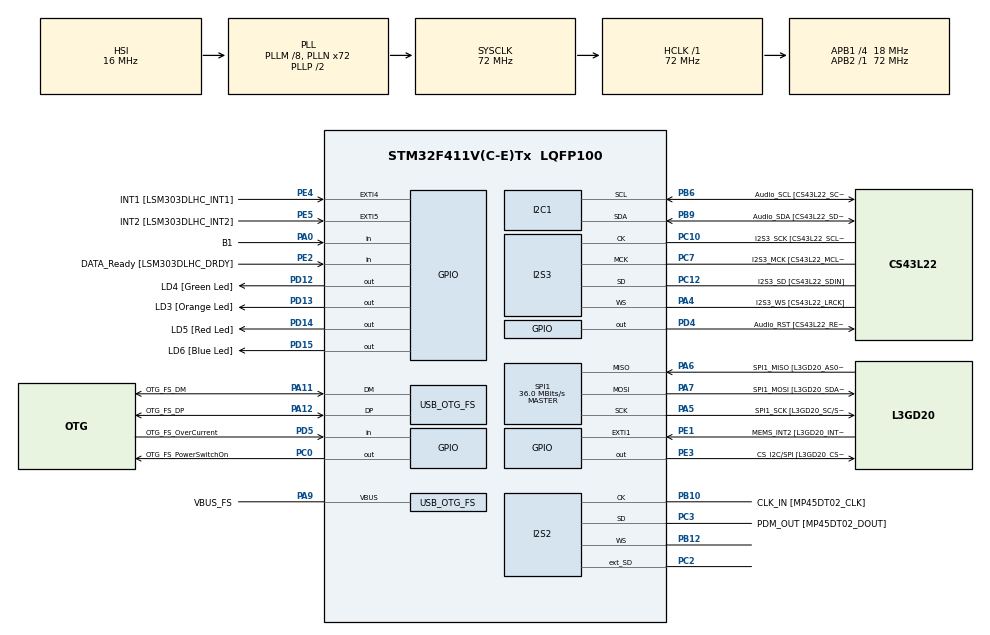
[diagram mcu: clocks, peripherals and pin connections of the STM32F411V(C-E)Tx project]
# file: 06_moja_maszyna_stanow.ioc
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I2S2.AudioFreq=I2S_AUDIOFREQ_96K
I2S2.ErrorAudioFreq=0.15 %
I2S2.FullDuplexMode=I2S_FULLDUPLEXMODE_ENABLE
I2S2.Instance=SPI$Index
I2S2.RealAudioFreq=96.153 KHz
I2S2.VirtualMode=I2S_MODE_MASTER
I2S3.AudioFreq=I2S_AUDIOFREQ_96K
I2S3.ErrorAudioFreq=-6.99 %
I2S3.FullDuplexMode=I2S_FULLDUPLEXMODE_DISABLE
I2S3.Instance=SPI$Index
I2S3.RealAudioFreq=89.285 KHz
I2S3.VirtualMode=I2S_MODE_MASTER
Mcu.Family=STM32F4
Mcu.Name=STM32F411V(C-E)Tx
Mcu.Package=LQFP100
NVIC.OTG_FS_IRQn=true\:0\:0\:false\:false\:true\:true\:true
NVIC.PriorityGroup=NVIC_PRIORITYGROUP_0
PA0-WKUP.GPIO_Label=B1
PA0-WKUP.Signal=GPIO_Input
PA10.GPIO_Label=OTG_FS_ID
PA10.Signal=USB_OTG_FS_ID
PA11.GPIO_Label=OTG_FS_DM
PA11.Mode=Host_Only
PA11.Signal=USB_OTG_FS_DM
PA12.GPIO_Label=OTG_FS_DP
PA12.Mode=Host_Only
PA12.Signal=USB_OTG_FS_DP
PA13.GPIO_Label=SWDIO
PA13.Mode=Serial_Wire
PA13.Signal=SYS_JTMS-SWDIO
PA14.GPIO_Label=SWCLK
PA14.Mode=Serial_Wire
PA14.Signal=SYS_JTCK-SWCLK
PA4.GPIO_Label=I2S3_WS [CS43L22_LRCK]
PA4.GPIO_Mode=GPIO_MODE_AF_PP
PA4.GPIO_PuPd=GPIO_NOPULL
PA4.GPIO_Speed=GPIO_SPEED_FREQ_LOW
PA4.Mode=Half_Duplex_Master
PA4.Signal=I2S3_WS
PA5.GPIO_Label=SPI1_SCK [L3GD20_SC/SPC]
PA5.Mode=Full_Duplex_Master
PA5.Signal=SPI1_SCK
PA6.GPIO_Label=SPI1_MISO [L3GD20_AS0/SDO]
PA6.Mode=Full_Duplex_Master
PA6.Signal=SPI1_MISO
PA7.GPIO_Label=SPI1_MOSI [L3GD20_SDA/SDI/SDO]
PA7.Mode=Full_Duplex_Master
PA7.Signal=SPI1_MOSI
PA9.GPIO_Label=VBUS_FS
PA9.Mode=Activate_VBUS
PA9.Signal=USB_OTG_FS_VBUS
PB10.GPIO_Label=CLK_IN [MP45DT02_CLK]
PB10.Mode=Full_Duplex_Master
PB10.Signal=I2S2_CK
PB12.Mode=Full_Duplex_Master
PB12.Signal=I2S2_WS
PB3.GPIO_Label=SWO
PB3.Signal=SYS_JTDO-SWO
PB6.GPIO_Label=Audio_SCL [CS43L22_SCL]
PB6.GPIO_Mode=GPIO_MODE_AF_OD
PB6.GPIO_PuPd=GPIO_NOPULL
PB6.GPIO_Speed=GPIO_SPEED_FREQ_LOW
PB6.Mode=I2C
PB6.Signal=I2C1_SCL
PB9.GPIO_Label=Audio_SDA [CS43L22_SDA]
PB9.GPIO_Mode=GPIO_MODE_AF_OD
PB9.GPIO_PuPd=GPIO_NOPULL
PB9.GPIO_Speed=GPIO_SPEED_FREQ_LOW
PB9.Mode=I2C
PB9.Signal=I2C1_SDA
PC0.GPIO_Label=OTG_FS_PowerSwitchOn
PC0.PinState=GPIO_PIN_SET
PC0.Signal=GPIO_Output
PC10.GPIO_Label=I2S3_SCK [CS43L22_SCLK]
PC10.GPIO_Mode=GPIO_MODE_AF_PP
PC10.GPIO_PuPd=GPIO_NOPULL
PC10.GPIO_Speed=GPIO_SPEED_FREQ_LOW
PC10.Mode=Half_Duplex_Master
PC10.Signal=I2S3_CK
PC12.GPIO_Label=I2S3_SD [CS43L22_SDIN]
PC12.GPIO_Mode=GPIO_MODE_AF_PP
PC12.GPIO_PuPd=GPIO_NOPULL
PC12.GPIO_Speed=GPIO_SPEED_FREQ_LOW
PC12.Mode=Half_Duplex_Master
PC12.Signal=I2S3_SD
PC14-OSC32_IN.GPIO_Label=PC14-OSC32_IN
PC14-OSC32_IN.Mode=LSE-External-Oscillator
PC14-OSC32_IN.Signal=RCC_OSC32_IN
PC15-OSC32_OUT.GPIO_Label=PC15-OSC32_OUT
PC15-OSC32_OUT.Mode=LSE-External-Oscillator
PC15-OSC32_OUT.Signal=RCC_OSC32_OUT
PC2.Mode=Full_Duplex_Master
PC2.Signal=I2S2_ext_SD
PC3.GPIO_Label=PDM_OUT [MP45DT02_DOUT]
PC3.Mode=Full_Duplex_Master
PC3.Signal=I2S2_SD
PC7.GPIO_Label=I2S3_MCK [CS43L22_MCLK]
PC7.GPIO_Mode=GPIO_MODE_AF_PP
PC7.GPIO_PuPd=GPIO_NOPULL
PC7.GPIO_Speed=GPIO_SPEED_FREQ_LOW
PC7.Mode=Master_Clock_Activated
PC7.Signal=I2S3_MCK
PD12.GPIO_Label=LD4 [Green Led]
PD12.GPIO_PuPd=GPIO_NOPULL
PD12.GPIO_Speed=GPIO_SPEED_FREQ_LOW
PD12.Signal=GPIO_Output
PD13.GPIO_Label=LD3 [Orange Led]
PD13.GPIO_PuPd=GPIO_NOPULL
PD13.GPIO_Speed=GPIO_SPEED_FREQ_LOW
PD13.Signal=GPIO_Output
PD14.GPIO_Label=LD5 [Red Led]
PD14.GPIO_PuPd=GPIO_NOPULL
PD14.GPIO_Speed=GPIO_SPEED_FREQ_LOW
PD14.Signal=GPIO_Output
PD15.GPIO_Label=LD6 [Blue Led]
PD15.GPIO_PuPd=GPIO_NOPULL
PD15.GPIO_Speed=GPIO_SPEED_FREQ_LOW
PD15.Signal=GPIO_Output
PD4.GPIO_Label=Audio_RST [CS43L22_RESET]
PD4.Signal=GPIO_Output
PD5.GPIO_Label=OTG_FS_OverCurrent
PD5.Signal=GPIO_Input
PE1.GPIO_Label=MEMS_INT2 [L3GD20_INT2]
PE1.GPIO_ModeDefaultEXTI=GPIO_MODE_EVT_RISING
PE1.Signal=GPXTI1
PE2.GPIO_Label=DATA_Ready [LSM303DLHC_DRDY]
PE2.Signal=GPIO_Input
PE3.GPIO_Label=CS_I2C/SPI [L3GD20_CS_I2C/SPI]
PE3.Signal=GPIO_Output
PE4.GPIO_Label=INT1 [LSM303DLHC_INT1]
PE4.GPIO_ModeDefaultEXTI=GPIO_MODE_EVT_RISING
PE4.Signal=GPXTI4
PE5.GPIO_Label=INT2 [LSM303DLHC_INT2]
PE5.GPIO_ModeDefaultEXTI=GPIO_MODE_EVT_RISING
PE5.Signal=GPXTI5
PH0\ -\ OSC_IN.GPIO_Label=PH0-OSC_IN
PH0\ -\ OSC_IN.Mode=HSE-External-Clock-Source
PH0\ -\ OSC_IN.Signal=RCC_OSC_IN
PH1\ -\ OSC_OUT.GPIO_Label=PH1-OSC_OUT
PH1\ -\ OSC_OUT.Mode=HSE-External-Clock-Source
PH1\ -\ OSC_OUT.Signal=RCC_OSC_OUT
ProjectManager.HeapSize=0x200
ProjectManager.StackSize=0x400
ProjectManager.TargetToolchain=STM32CubeIDE
RCC.48MHZClocksFreq_Value=48000000
RCC.AHBFreq_Value=72000000
RCC.APB1CLKDivider=RCC_HCLK_DIV4
RCC.APB1Freq_Value=18000000
RCC.APB1TimFreq_Value=36000000
RCC.APB2Freq_Value=72000000
RCC.APB2TimFreq_Value=72000000
RCC.CortexFreq_Value=72000000
RCC.HCLKFreq_Value=72000000
RCC.HSE_VALUE=8000000
RCC.HSI_VALUE=16000000
RCC.PLLI2SM=8
RCC.PLLI2SN=160
RCC.PLLM=8
RCC.PLLN=72
RCC.PLLQ=3
RCC.PLLSource=RCC_PLLSOURCE_HSI
RCC.SYSCLKFreq_VALUE=72000000
RCC.SYSCLKSource=RCC_SYSCLKSOURCE_PLLCLK
RCC.VCOOutputFreq_Value=144000000
SPI1.BaudRatePrescaler=SPI_BAUDRATEPRESCALER_2
SPI1.CalculateBaudRate=36.0 MBits/s
SPI1.Direction=SPI_DIRECTION_2LINES
SPI1.Mode=SPI_MODE_MASTER
SPI1.VirtualType=VM_MASTER
USB_HOST.BSP.number=1
USB_HOST.USBH_HandleTypeDef=hUsbHostFS
USB_HOST.VirtualModeFS=Cdc
USB_HOST0.BSP.STBoard=false
USB_HOST0.BSP.api=Unknown
USB_HOST0.BSP.i2caddr=0
USB_HOST0.BSP.i2creg=0
USB_HOST0.BSP.instance=PC0
USB_HOST0.BSP.ip=GPIO
USB_HOST0.BSP.mode=Output
USB_HOST0.BSP.name=Drive_VBUS_FS
USB_HOST0.BSP.solution=PC0
USB_OTG_FS.VirtualMode=Host_Only
USB_OTG_FS.phy_itface=HCD_PHY_EMBEDDED
VP_USB_HOST_VS_USB_HOST_CDC_FS.Mode=CDC_FS
board=STM32F411E-DISCO

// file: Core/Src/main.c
/* USER CODE BEGIN Header */
/**

PROGRAM WYJŚCIOWY

  */
/* USER CODE END Header */
#include "main.h"
#include "i2c.h"
#include "i2s.h"
#include "spi.h"
#include "usb_host.h"
#include "gpio.h"

/* USER CODE BEGIN Includes */
#include "button.h"
/* USER CODE END Includes */

/* USER CODE BEGIN PV */
extern TButton BlueKey;
extern TButton ExternalKey;
uint32_t ReleaseBlinkTimer = 0;
/* USER CODE END PV */

void SystemClock_Config(void);
void MX_USB_HOST_Process(void);

/* USER CODE BEGIN PFP */
void TurnOnLed3(void);
void TurnOffLed3(void);
void ToggleLed3(void);
void TurnOnLed4(void);
void TurnOffLed4(void);
void ToggleLed4(void);
void TurnOnLed5(void);
void TurnOffLed5(void);
void ToggleLed5(void);
void TurnOnLed6(void);
void TurnOffLed6(void);
void ToggleLed6(void);
void ThreeBlinks3(void);
void ThreeBlinks5(void);
/* USER CODE END PFP */

int main(void)
{

  /* MCU Configuration--------------------------------------------------------*/

  /* Reset of all peripherals, Initializes the Flash interface and the Systick. */
  HAL_Init();

  /* Configure the system clock */
  SystemClock_Config();

  /* Initialize all configured peripherals */
  MX_GPIO_Init();
  MX_I2C1_Init();
  MX_I2S2_Init();
  MX_I2S3_Init();
  MX_SPI1_Init();
  MX_USB_HOST_Init();
  /* USER CODE BEGIN 2 */
  ButtonInitKey(&BlueKey, B1_GPIO_Port, B1_Pin, 10, 30, 2000, 500);
  ButtonRegisterPressCallback(&BlueKey, TurnOnLed3);
  ButtonRegisterLongPressCallback(&BlueKey, TurnOffLed3);
  ButtonRegisterRepeatPressCallback(&BlueKey, ToggleLed4);
  ButtonRegisterReleasePressCallback(&BlueKey, ThreeBlinks3);

  EButtonInitKey(&ExternalKey, B2_GPIO_Port, B2_Pin, 10, 30, 2000, 500);
  EButtonRegisterPressCallback(&ExternalKey, TurnOnLed5);
  EButtonRegisterLongPressCallback(&ExternalKey, TurnOffLed5);
  EButtonRegisterRepeatPressCallback(&ExternalKey, ToggleLed6);
  EButtonRegisterReleasePressCallback(&ExternalKey, ThreeBlinks5);
  /* USER CODE END 2 */

  /* Infinite loop */
  /* USER CODE BEGIN WHILE */
  while (1)
  {
	ButtonTask(&BlueKey);
	EButtonTask(&ExternalKey);
    /* USER CODE END WHILE */
    MX_USB_HOST_Process();

  }
}

void SystemClock_Config(void)
{
  RCC_OscInitTypeDef RCC_OscInitStruct = {0};
  RCC_ClkInitTypeDef RCC_ClkInitStruct = {0};
  RCC_PeriphCLKInitTypeDef PeriphClkInitStruct = {0};

  /** Configure the main internal regulator output voltage
  */
  __HAL_RCC_PWR_CLK_ENABLE();
  __HAL_PWR_VOLTAGESCALING_CONFIG(PWR_REGULATOR_VOLTAGE_SCALE1);
  /** Initializes the RCC Oscillators according to the specified parameters
  * in the RCC_OscInitTypeDef structure.
  */
  RCC_OscInitStruct.OscillatorType = RCC_OSCILLATORTYPE_HSI;
  RCC_OscInitStruct.HSIState = RCC_HSI_ON;
  RCC_OscInitStruct.HSICalibrationValue = RCC_HSICALIBRATION_DEFAULT;
  RCC_OscInitStruct.PLL.PLLState = RCC_PLL_ON;
  RCC_OscInitStruct.PLL.PLLSource = RCC_PLLSOURCE_HSI;
  RCC_OscInitStruct.PLL.PLLM = 8;
  RCC_OscInitStruct.PLL.PLLN = 72;
  RCC_OscInitStruct.PLL.PLLP = RCC_PLLP_DIV2;
  RCC_OscInitStruct.PLL.PLLQ = 3;
  if (HAL_RCC_OscConfig(&RCC_OscInitStruct) != HAL_OK)
  {
    Error_Handler();
  }
  /** Initializes the CPU, AHB and APB buses clocks
  */
  RCC_ClkInitStruct.ClockType = RCC_CLOCKTYPE_HCLK|RCC_CLOCKTYPE_SYSCLK
                              |RCC_CLOCKTYPE_PCLK1|RCC_CLOCKTYPE_PCLK2;
  RCC_ClkInitStruct.SYSCLKSource = RCC_SYSCLKSOURCE_PLLCLK;
  RCC_ClkInitStruct.AHBCLKDivider = RCC_SYSCLK_DIV1;
  RCC_ClkInitStruct.APB1CLKDivider = RCC_HCLK_DIV4;
  RCC_ClkInitStruct.APB2CLKDivider = RCC_HCLK_DIV1;

  if (HAL_RCC_ClockConfig(&RCC_ClkInitStruct, FLASH_LATENCY_2) != HAL_OK)
  {
    Error_Handler();
  }
  PeriphClkInitStruct.PeriphClockSelection = RCC_PERIPHCLK_I2S;
  PeriphClkInitStruct.PLLI2S.PLLI2SN = 160;
  PeriphClkInitStruct.PLLI2S.PLLI2SM = 8;
  PeriphClkInitStruct.PLLI2S.PLLI2SR = 2;
  if (HAL_RCCEx_PeriphCLKConfig(&PeriphClkInitStruct) != HAL_OK)
  {
    Error_Handler();
  }
}

/* USER CODE BEGIN 4 */
void TurnOnLed3(void)
{
	HAL_GPIO_WritePin(LD3_GPIO_Port, LD3_Pin, GPIO_PIN_SET);
}

void TurnOffLed3(void)
{
	HAL_GPIO_WritePin(LD3_GPIO_Port, LD3_Pin, GPIO_PIN_RESET);
}

void ToggleLed3(void)
{
	HAL_GPIO_TogglePin(LD3_GPIO_Port, LD3_Pin);
}
//////////////////////////////////////////////////////
void TurnOnLed4(void)
{
	HAL_GPIO_WritePin(LD4_GPIO_Port, LD4_Pin, GPIO_PIN_SET);
}

void TurnOffLed4(void)
{
	HAL_GPIO_WritePin(LD4_GPIO_Port, LD4_Pin, GPIO_PIN_RESET);
}

void ToggleLed4(void)
{
	HAL_GPIO_TogglePin(LD4_GPIO_Port, LD4_Pin);
}
///////////////////////////////////////////////////////
void TurnOnLed5(void)
{
	HAL_GPIO_WritePin(LD5_GPIO_Port, LD5_Pin, GPIO_PIN_SET);
}

void TurnOffLed5(void)
{
	HAL_GPIO_WritePin(LD5_GPIO_Port, LD5_Pin, GPIO_PIN_RESET);
}

void ToggleLed5(void)
{
	HAL_GPIO_TogglePin(LD5_GPIO_Port, LD5_Pin);
}
///////////////////////////////////////////////////////
void TurnOnLed6(void)
{
	HAL_GPIO_WritePin(LD6_GPIO_Port, LD6_Pin, GPIO_PIN_SET);
}

void TurnOffLed6(void)
{
	HAL_GPIO_WritePin(LD6_GPIO_Port, LD6_Pin, GPIO_PIN_RESET);
}

void ToggleLed6(void)
{
	HAL_GPIO_TogglePin(LD6_GPIO_Port, LD6_Pin);
}
////////////////////////////////////////////////////////
////////////////////////////////////////////////////////
void ThreeBlinks3(void)
{

	HAL_GPIO_TogglePin(LD3_GPIO_Port, LD3_Pin);
	HAL_Delay(70);
	HAL_GPIO_TogglePin(LD3_GPIO_Port, LD3_Pin);
	HAL_Delay(70);
	HAL_GPIO_TogglePin(LD3_GPIO_Port, LD3_Pin);
	HAL_Delay(70);
	HAL_GPIO_TogglePin(LD3_GPIO_Port, LD3_Pin);
	HAL_Delay(70);
	HAL_GPIO_TogglePin(LD3_GPIO_Port, LD3_Pin);
	HAL_Delay(70);
	HAL_GPIO_TogglePin(LD3_GPIO_Port, LD3_Pin);
}
void ThreeBlinks5(void)
{
	HAL_GPIO_TogglePin(LD5_GPIO_Port, LD5_Pin);
	HAL_Delay(70);
	HAL_GPIO_TogglePin(LD5_GPIO_Port, LD5_Pin);
	HAL_Delay(70);
	HAL_GPIO_TogglePin(LD5_GPIO_Port, LD5_Pin);
	HAL_Delay(70);
	HAL_GPIO_TogglePin(LD5_GPIO_Port, LD5_Pin);
	HAL_Delay(70);
	HAL_GPIO_TogglePin(LD5_GPIO_Port, LD5_Pin);
	HAL_Delay(70);
	HAL_GPIO_TogglePin(LD5_GPIO_Port, LD5_Pin);
}

/* USER CODE END 4 */

void Error_Handler(void)
{
  __disable_irq();
  while (1)
  {
  }
}

/************************ (C) COPYRIGHT STMicroelectronics *****END OF FILE****/
